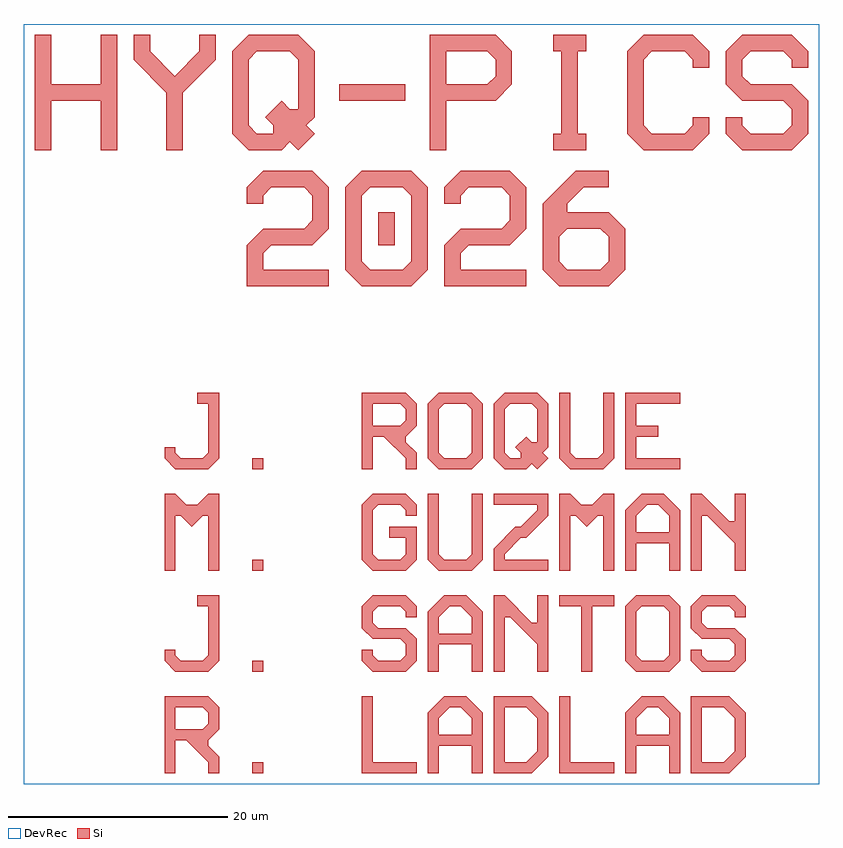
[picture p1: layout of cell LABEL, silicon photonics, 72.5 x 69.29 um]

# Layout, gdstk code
import gdstk
lib = gdstk.Library(unit=1e-6, precision=1e-09)
def R(c, l, rs):  # rectangles x0, y0, x1, y1
    for r in rs: c.add(gdstk.rectangle(r[:2], r[2:], *l))
def A(c, l, x, y, w, h, nx, ny, dx, dy):  # array of equal rectangles
    R(c, l, [(x+i*dx, y+j*dy, x+i*dx+w, y+j*dy+h) for i in range(nx) for j in range(ny)])
def P(c, l, *ps):  # polygons
    for p in ps: c.add(gdstk.Polygon(p, *l))
Si = (1, 0)
DevRec = (68, 0)

label = lib.new_cell('LABEL')
A(label, Si, 19.82, 9.22, 1, 1, 1, 3, 0, 9.23)
R(label, Si, [(19.82,0,20.82,1), (31.31,48.14,32.81,51.14), (27.75,61.29,33.75,62.79)])
P(label, Si, [(0,56.79),(0,67.29),(1.5,67.29),(1.5,62.79),(6,62.79),(6,67.29),(7.5,67.29),(7.5,56.79),(6,56.79),(6,61.29),(1.5,61.29),(1.5,56.79)],
  [(12,56.79),(12,62.04),(9,65.04),(9,67.29),(10.5,67.29),(10.5,65.79),(12.75,63.54),(15,65.79),(15,67.29),(16.5,67.29),(16.5,65.04),(13.5,62.04),(13.5,56.79)],
  [(19.5,56.79),(18,58.29),(18,65.79),(19.5,67.29),(24,67.29),(25.5,65.79),(20.25,65.79),(19.5,65.04),(19.5,59.04),(20.25,58.29),(21.75,58.29),(21.75,59.04),(21,59.79),(22.5,61.29),(23.25,60.54),(24,60.54),(24,65.04),(23.25,65.79),(25.5,65.79),(25.5,59.79),(24.75,59.04),(25.5,58.29),(24,56.79),(23.25,57.54),(22.5,56.79)],
  [(36,56.79),(36,67.29),(42,67.29),(43.5,65.79),(43.5,62.79),(42,61.29),(37.5,61.29),(37.5,62.79),(41.25,62.79),(42,63.54),(42,65.04),(41.25,65.79),(37.5,65.79),(37.5,56.79)],
  [(47.25,56.79),(47.25,58.29),(48,58.29),(48,65.79),(47.25,65.79),(47.25,67.29),(50.25,67.29),(50.25,65.79),(49.5,65.79),(49.5,58.29),(50.25,58.29),(50.25,56.79)],
  [(55.5,56.79),(54,58.29),(54,65.79),(55.5,67.29),(60,67.29),(61.5,65.79),(61.5,64.29),(60,64.29),(60,65.04),(59.25,65.79),(56.25,65.79),(55.5,65.04),(55.5,59.04),(56.25,58.29),(59.25,58.29),(60,59.04),(60,59.79),(61.5,59.79),(61.5,58.29),(60,56.79)],
  [(64.5,56.79),(63,58.29),(63,59.79),(64.5,59.79),(64.5,59.04),(65.25,58.29),(68.25,58.29),(69,59.04),(69,60.54),(68.25,61.29),(64.5,61.29),(63,62.79),(63,65.79),(64.5,67.29),(69,67.29),(70.5,65.79),(70.5,64.29),(69,64.29),(69,65.04),(68.25,65.79),(65.25,65.79),(64.5,65.04),(64.5,63.54),(65.25,62.79),(69,62.79),(70.5,61.29),(70.5,58.29),(69,56.79)],
  [(19.31,44.39),(19.31,48.14),(20.81,49.64),(24.56,49.64),(25.31,50.39),(25.31,52.64),(24.56,53.39),(21.56,53.39),(20.81,52.64),(20.81,51.89),(19.31,51.89),(19.31,53.39),(20.81,54.89),(25.31,54.89),(26.81,53.39),(26.81,49.64),(25.31,48.14),(21.56,48.14),(20.81,47.39),(20.81,45.89),(26.81,45.89),(26.81,44.39)],
  [(29.81,44.39),(28.31,45.89),(28.31,53.39),(29.81,54.89),(34.31,54.89),(35.81,53.39),(30.56,53.39),(29.81,52.64),(29.81,46.64),(30.56,45.89),(33.56,45.89),(34.31,46.64),(34.31,52.64),(33.56,53.39),(35.81,53.39),(35.81,45.89),(34.31,44.39)],
  [(37.31,44.39),(37.31,48.14),(38.81,49.64),(42.56,49.64),(43.31,50.39),(43.31,52.64),(42.56,53.39),(39.56,53.39),(38.81,52.64),(38.81,51.89),(37.31,51.89),(37.31,53.39),(38.81,54.89),(43.31,54.89),(44.81,53.39),(44.81,49.64),(43.31,48.14),(39.56,48.14),(38.81,47.39),(38.81,45.89),(44.81,45.89),(44.81,44.39)],
  [(47.81,44.39),(46.31,45.89),(46.31,51.89),(49.31,54.89),(52.31,54.89),(52.31,53.39),(50.06,53.39),(48.56,51.89),(48.56,51.14),(52.31,51.14),(53.81,49.64),(48.56,49.64),(47.81,48.89),(47.81,46.64),(48.56,45.89),(51.56,45.89),(52.31,46.64),(52.31,48.89),(51.56,49.64),(53.81,49.64),(53.81,45.89),(52.31,44.39)],
  [(12.82,27.68),(11.82,28.68),(11.82,29.68),(12.82,29.68),(12.82,29.18),(13.32,28.68),(15.32,28.68),(15.82,29.18),(15.82,33.68),(14.82,33.68),(14.82,34.68),(16.82,34.68),(16.82,28.68),(15.82,27.68)],
  [(29.82,27.68),(29.82,34.68),(33.82,34.68),(34.82,33.68),(30.82,33.68),(30.82,31.68),(33.32,31.68),(33.82,32.18),(33.82,33.18),(33.32,33.68),(34.82,33.68),(34.82,31.68),(33.82,30.68),(33.82,30.18),(34.82,29.18),(34.82,27.68),(33.82,27.68),(33.82,28.68),(31.82,30.68),(30.82,30.68),(30.82,27.68)],
  [(36.82,27.68),(35.82,28.68),(35.82,33.68),(36.82,34.68),(39.82,34.68),(40.82,33.68),(40.82,31.18),(39.82,31.18),(39.82,33.18),(39.32,33.68),(37.32,33.68),(36.82,33.18),(36.82,29.18),(37.32,28.68),(39.32,28.68),(39.82,29.18),(39.82,31.18),(40.82,31.18),(40.82,28.68),(39.82,27.68)],
  [(42.82,27.68),(41.82,28.68),(41.82,33.68),(42.82,34.68),(45.82,34.68),(46.82,33.68),(43.32,33.68),(42.82,33.18),(42.82,29.18),(43.32,28.68),(44.32,28.68),(44.32,29.18),(43.82,29.68),(44.82,30.68),(45.32,30.18),(45.82,30.18),(45.82,33.18),(45.32,33.68),(46.82,33.68),(46.82,29.68),(46.32,29.18),(46.82,28.68),(45.82,27.68),(45.32,28.18),(44.82,27.68)],
  [(48.82,27.68),(47.82,28.68),(47.82,34.68),(48.82,34.68),(48.82,29.18),(49.32,28.68),(51.32,28.68),(51.82,29.18),(51.82,34.68),(52.82,34.68),(52.82,28.68),(51.82,27.68)],
  [(53.82,27.68),(53.82,34.68),(58.82,34.68),(58.82,33.68),(54.82,33.68),(54.82,31.68),(56.82,31.68),(56.82,30.68),(54.82,30.68),(54.82,28.68),(58.82,28.68),(58.82,27.68)],
  [(11.82,18.45),(11.82,25.45),(12.82,25.45),(13.82,24.45),(14.82,24.45),(15.82,25.45),(16.82,25.45),(16.82,18.45),(15.82,18.45),(15.82,23.45),(15.32,23.45),(14.32,22.45),(13.32,23.45),(12.82,23.45),(12.82,18.45)],
  [(30.82,18.45),(29.82,19.45),(29.82,24.45),(30.82,25.45),(33.82,25.45),(34.82,24.45),(34.82,23.45),(33.82,23.45),(33.82,23.95),(33.32,24.45),(31.32,24.45),(30.82,23.95),(30.82,19.95),(31.32,19.45),(33.32,19.45),(33.82,19.95),(33.82,21.45),(32.32,21.45),(32.32,22.45),(34.82,22.45),(34.82,19.45),(33.82,18.45)],
  [(36.82,18.45),(35.82,19.45),(35.82,25.45),(36.82,25.45),(36.82,19.95),(37.32,19.45),(39.32,19.45),(39.82,19.95),(39.82,25.45),(40.82,25.45),(40.82,19.45),(39.82,18.45)],
  [(41.82,18.45),(41.82,20.45),(43.82,22.45),(44.32,22.45),(45.82,23.95),(45.82,24.45),(41.82,24.45),(41.82,25.45),(46.82,25.45),(46.82,23.45),(44.82,21.45),(44.32,21.45),(42.82,19.95),(42.82,19.45),(46.82,19.45),(46.82,18.45)],
  [(47.82,18.45),(47.82,25.45),(48.82,25.45),(49.82,24.45),(50.82,24.45),(51.82,25.45),(52.82,25.45),(52.82,18.45),(51.82,18.45),(51.82,23.45),(51.32,23.45),(50.32,22.45),(49.32,23.45),(48.82,23.45),(48.82,18.45)],
  [(53.82,18.45),(53.82,23.95),(55.32,25.45),(57.32,25.45),(58.32,24.45),(55.82,24.45),(54.82,23.45),(54.82,21.95),(57.82,21.95),(57.82,23.45),(56.82,24.45),(58.32,24.45),(58.82,23.95),(58.82,18.45),(57.82,18.45),(57.82,20.95),(54.82,20.95),(54.82,18.45)],
  [(59.82,18.45),(59.82,25.45),(60.82,25.45),(63.32,22.95),(63.82,22.95),(63.82,25.45),(64.82,25.45),(64.82,18.45),(63.82,18.45),(63.82,20.95),(61.32,23.45),(60.82,23.45),(60.82,18.45)],
  [(12.82,9.22),(11.82,10.22),(11.82,11.22),(12.82,11.22),(12.82,10.72),(13.32,10.22),(15.32,10.22),(15.82,10.72),(15.82,15.22),(14.82,15.22),(14.82,16.22),(16.82,16.22),(16.82,10.22),(15.82,9.22)],
  [(30.82,9.22),(29.82,10.22),(29.82,11.22),(30.82,11.22),(30.82,10.72),(31.32,10.22),(33.32,10.22),(33.82,10.72),(33.82,11.72),(33.32,12.22),(30.82,12.22),(29.82,13.22),(29.82,15.22),(30.82,16.22),(33.82,16.22),(34.82,15.22),(34.82,14.22),(33.82,14.22),(33.82,14.72),(33.32,15.22),(31.32,15.22),(30.82,14.72),(30.82,13.72),(31.32,13.22),(33.82,13.22),(34.82,12.22),(34.82,10.22),(33.82,9.22)],
  [(35.82,9.22),(35.82,14.72),(37.32,16.22),(39.32,16.22),(40.32,15.22),(37.82,15.22),(36.82,14.22),(36.82,12.72),(39.82,12.72),(39.82,14.22),(38.82,15.22),(40.32,15.22),(40.82,14.72),(40.82,9.22),(39.82,9.22),(39.82,11.72),(36.82,11.72),(36.82,9.22)],
  [(41.82,9.22),(41.82,16.22),(42.82,16.22),(45.32,13.72),(45.82,13.72),(45.82,16.22),(46.82,16.22),(46.82,9.22),(45.82,9.22),(45.82,11.72),(43.32,14.22),(42.82,14.22),(42.82,9.22)],
  [(49.82,9.22),(49.82,15.22),(47.82,15.22),(47.82,16.22),(52.82,16.22),(52.82,15.22),(50.82,15.22),(50.82,9.22)],
  [(54.82,9.22),(53.82,10.22),(53.82,15.22),(54.82,16.22),(57.82,16.22),(58.82,15.22),(58.82,12.72),(57.82,12.72),(57.82,14.72),(57.32,15.22),(55.32,15.22),(54.82,14.72),(54.82,10.72),(55.32,10.22),(57.32,10.22),(57.82,10.72),(57.82,12.72),(58.82,12.72),(58.82,10.22),(57.82,9.22)],
  [(60.82,9.22),(59.82,10.22),(59.82,11.22),(60.82,11.22),(60.82,10.72),(61.32,10.22),(63.32,10.22),(63.82,10.72),(63.82,11.72),(63.32,12.22),(60.82,12.22),(59.82,13.22),(59.82,15.22),(60.82,16.22),(63.82,16.22),(64.82,15.22),(64.82,14.22),(63.82,14.22),(63.82,14.72),(63.32,15.22),(61.32,15.22),(60.82,14.72),(60.82,13.72),(61.32,13.22),(63.82,13.22),(64.82,12.22),(64.82,10.22),(63.82,9.22)],
  [(11.82,0),(11.82,7),(15.82,7),(16.82,6),(12.82,6),(12.82,4),(15.32,4),(15.82,4.5),(15.82,5.5),(15.32,6),(16.82,6),(16.82,4),(15.82,3),(15.82,2.5),(16.82,1.5),(16.82,0),(15.82,0),(15.82,1),(13.82,3),(12.82,3),(12.82,0)],
  [(29.82,0),(29.82,7),(30.82,7),(30.82,1),(34.82,1),(34.82,0)],
  [(35.82,0),(35.82,5.5),(37.32,7),(39.32,7),(40.32,6),(37.82,6),(36.82,5),(36.82,3.5),(39.82,3.5),(39.82,5),(38.82,6),(40.32,6),(40.82,5.5),(40.82,0),(39.82,0),(39.82,2.5),(36.82,2.5),(36.82,0)],
  [(41.82,0),(41.82,7),(45.32,7),(46.32,6),(42.82,6),(42.82,1),(44.82,1),(45.82,2),(45.82,5),(44.82,6),(46.32,6),(46.82,5.5),(46.82,1.5),(45.32,0)],
  [(47.82,0),(47.82,7),(48.82,7),(48.82,1),(52.82,1),(52.82,0)],
  [(53.82,0),(53.82,5.5),(55.32,7),(57.32,7),(58.32,6),(55.82,6),(54.82,5),(54.82,3.5),(57.82,3.5),(57.82,5),(56.82,6),(58.32,6),(58.82,5.5),(58.82,0),(57.82,0),(57.82,2.5),(54.82,2.5),(54.82,0)],
  [(59.82,0),(59.82,7),(63.32,7),(64.32,6),(60.82,6),(60.82,1),(62.82,1),(63.82,2),(63.82,5),(62.82,6),(64.32,6),(64.82,5.5),(64.82,1.5),(63.32,0)])
R(label, DevRec, [(-1,-1,71.5,68.29)])

lib.write_gds('LABEL.gds')
